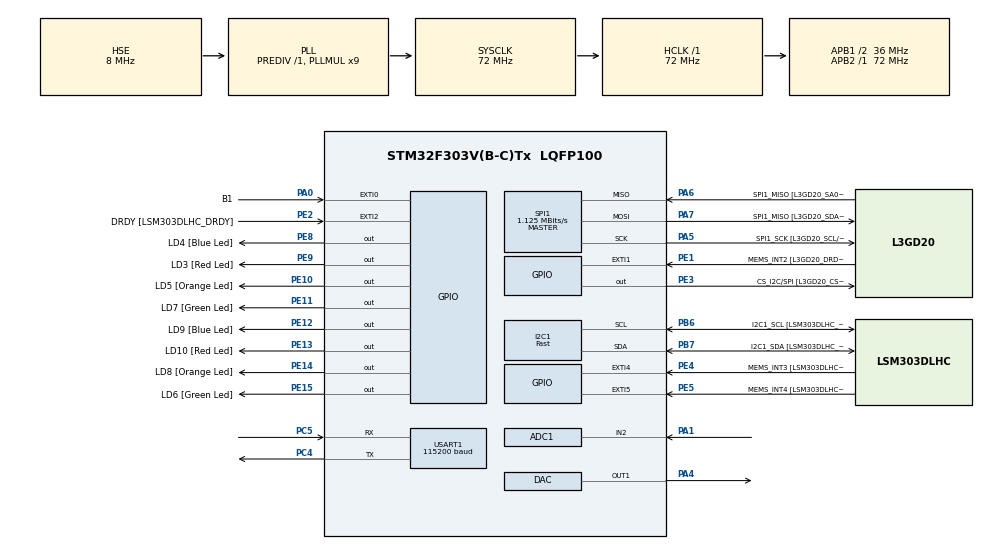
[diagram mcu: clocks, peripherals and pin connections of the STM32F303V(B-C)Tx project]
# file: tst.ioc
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ADC1.Channel-0\#ChannelRegularConversion=ADC_CHANNEL_2
ADC1.ClockPrescaler=ADC_CLOCK_ASYNC_DIV1
ADC1.ContinuousConvMode=DISABLE
ADC1.DMAContinuousRequests=DISABLE
ADC1.DataAlign=ADC_DATAALIGN_RIGHT
ADC1.DiscontinuousConvMode=DISABLE
ADC1.EOCSelection=ADC_EOC_SINGLE_CONV
ADC1.EnableAnalogWatchDog1=false
ADC1.EnableAnalogWatchDog2=false
ADC1.EnableAnalogWatchDog3=false
ADC1.EnableInjectedConversion=ENABLE
ADC1.EnableRegularConversion=ENABLE
ADC1.ExternalTrigConv=ADC_SOFTWARE_START
ADC1.ExternalTrigConvEdge=ADC_EXTERNALTRIGCONVEDGE_NONE
ADC1.InjNumberOfConversion=0
ADC1.LowPowerAutoWait=DISABLE
ADC1.NbrOfConversion=1
ADC1.NbrOfConversionFlag=1
ADC1.Offset-0\#ChannelRegularConversion=0
ADC1.OffsetNumber-0\#ChannelRegularConversion=ADC_OFFSET_NONE
ADC1.Overrun=ADC_OVR_DATA_OVERWRITTEN
ADC1.Rank-0\#ChannelRegularConversion=1
ADC1.Resolution=ADC_RESOLUTION_8B
ADC1.SamplingTime-0\#ChannelRegularConversion=ADC_SAMPLETIME_1CYCLE_5
ADC1.ScanConvMode=ADC_SCAN_DISABLE
ADC1.master=1
DAC.DAC_Trigger=DAC_TRIGGER_T6_TRGO
Dma.DAC_CH1.0.Direction=DMA_MEMORY_TO_PERIPH
Dma.DAC_CH1.0.Instance=DMA1_Channel3
Dma.DAC_CH1.0.MemDataAlignment=DMA_MDATAALIGN_HALFWORD
Dma.DAC_CH1.0.MemInc=DMA_MINC_ENABLE
Dma.DAC_CH1.0.Mode=DMA_CIRCULAR
Dma.DAC_CH1.0.PeriphDataAlignment=DMA_PDATAALIGN_HALFWORD
Dma.DAC_CH1.0.PeriphInc=DMA_PINC_DISABLE
Dma.DAC_CH1.0.Priority=DMA_PRIORITY_LOW
Dma.Request0=DAC_CH1
I2C1.I2C_Speed_Mode=I2C_Fast
I2C1.Timing=0x0000020B
Mcu.Family=STM32F3
Mcu.Name=STM32F303V(B-C)Tx
Mcu.Package=LQFP100
NVIC.ADC1_2_IRQn=true\:0\:1\:false\:false\:true
NVIC.DMA1_Channel3_IRQn=true\:0\:0\:false\:false\:true
NVIC.EXTI0_IRQn=true\:0\:2\:false\:false\:true
NVIC.FLASH_IRQn=true\:0\:0\:false\:false\:true
NVIC.PriorityGroup=NVIC_PRIORITYGROUP_0
NVIC.TIM6_DAC_IRQn=true\:0\:0\:true\:false\:true
NVIC.TIM7_IRQn=true\:0\:0\:true\:false\:true
NVIC.USART1_IRQn=true\:0\:0\:false\:false\:true
PA0.GPIO_Label=B1
PA0.Signal=GPXTI0
PA1.Mode=IN2-Single-Ended
PA1.Signal=ADC1_IN2
PA11.GPIO_Label=DM
PA11.Signal=USB_DM
PA12.GPIO_Label=DP
PA12.Signal=USB_DP
PA13.GPIO_Label=SWDIO
PA13.Mode=Trace_Asynchronous_SW
PA13.Signal=SYS_JTMS-SWDIO
PA14.GPIO_Label=SWCLK
PA14.Mode=Trace_Asynchronous_SW
PA14.Signal=SYS_JTCK-SWCLK
PA4.Signal=COMP_DAC1_group
PA5.GPIO_Label=SPI1_SCK [L3GD20_SCL/SPC]
PA5.GPIO_Mode=GPIO_MODE_AF_PP
PA5.GPIO_PuPd=GPIO_NOPULL
PA5.GPIO_Speed=GPIO_SPEED_FREQ_LOW
PA5.Mode=Full_Duplex_Master
PA5.Signal=SPI1_SCK
PA6.GPIO_Label=SPI1_MISO [L3GD20_SA0/SDO]
PA6.GPIO_Mode=GPIO_MODE_AF_PP
PA6.GPIO_PuPd=GPIO_NOPULL
PA6.GPIO_Speed=GPIO_SPEED_FREQ_LOW
PA6.Mode=Full_Duplex_Master
PA6.Signal=SPI1_MISO
PA7.GPIO_Label=SPI1_MISO [L3GD20_SDA/SDI/SDO]
PA7.GPIO_Mode=GPIO_MODE_AF_PP
PA7.GPIO_PuPd=GPIO_NOPULL
PA7.GPIO_Speed=GPIO_SPEED_FREQ_LOW
PA7.Mode=Full_Duplex_Master
PA7.Signal=SPI1_MOSI
PB3.GPIO_Label=SWO
PB3.Mode=Trace_Asynchronous_SW
PB3.Signal=SYS_JTDO-TRACESWO
PB6.GPIO_FM6=__NULL
PB6.GPIO_Label=I2C1_SCL [LSM303DLHC_SCL]
PB6.GPIO_Mode=GPIO_MODE_AF_OD
PB6.GPIO_PuPd=GPIO_NOPULL
PB6.GPIO_Speed=GPIO_SPEED_FREQ_LOW
PB6.Mode=I2C
PB6.Signal=I2C1_SCL
PB7.GPIO_FM7=__NULL
PB7.GPIO_Label=I2C1_SDA [LSM303DLHC_SDA]
PB7.GPIO_Mode=GPIO_MODE_AF_OD
PB7.GPIO_PuPd=GPIO_NOPULL
PB7.GPIO_Speed=GPIO_SPEED_FREQ_LOW
PB7.Mode=I2C
PB7.Signal=I2C1_SDA
PC14-OSC32_IN.GPIO_Label=OSC32_IN
PC14-OSC32_IN.Signal=RCC_OSC32_IN
PC15-OSC32_OUT.GPIO_Label=OSC32_OUT
PC15-OSC32_OUT.Signal=RCC_OSC32_OUT
PC4.Mode=Asynchronous
PC4.Signal=USART1_TX
PC5.Mode=Asynchronous
PC5.Signal=USART1_RX
PE1.GPIO_Label=MEMS_INT2 [L3GD20_DRDY/INT2]
PE1.GPIO_ModeDefaultEXTI=GPIO_MODE_EVT_RISING
PE1.GPIO_PuPd=GPIO_NOPULL
PE1.Signal=GPXTI1
PE10.GPIO_Label=LD5 [Orange Led]
PE10.GPIO_ModeDefaultOutputPP=GPIO_MODE_OUTPUT_PP
PE10.GPIO_PuPd=GPIO_NOPULL
PE10.GPIO_Speed=GPIO_SPEED_FREQ_LOW
PE10.Signal=GPIO_Output
PE11.GPIO_Label=LD7 [Green Led]
PE11.GPIO_ModeDefaultOutputPP=GPIO_MODE_OUTPUT_PP
PE11.GPIO_PuPd=GPIO_NOPULL
PE11.GPIO_Speed=GPIO_SPEED_FREQ_LOW
PE11.Signal=GPIO_Output
PE12.GPIO_Label=LD9 [Blue Led]
PE12.GPIO_ModeDefaultOutputPP=GPIO_MODE_OUTPUT_PP
PE12.GPIO_PuPd=GPIO_NOPULL
PE12.GPIO_Speed=GPIO_SPEED_FREQ_LOW
PE12.Signal=GPIO_Output
PE13.GPIO_Label=LD10 [Red Led]
PE13.GPIO_ModeDefaultOutputPP=GPIO_MODE_OUTPUT_PP
PE13.GPIO_PuPd=GPIO_NOPULL
PE13.GPIO_Speed=GPIO_SPEED_FREQ_LOW
PE13.Signal=GPIO_Output
PE14.GPIO_Label=LD8 [Orange Led]
PE14.GPIO_ModeDefaultOutputPP=GPIO_MODE_OUTPUT_PP
PE14.GPIO_PuPd=GPIO_NOPULL
PE14.GPIO_Speed=GPIO_SPEED_FREQ_LOW
PE14.Signal=GPIO_Output
PE15.GPIO_Label=LD6 [Green Led]
PE15.GPIO_ModeDefaultOutputPP=GPIO_MODE_OUTPUT_PP
PE15.GPIO_PuPd=GPIO_NOPULL
PE15.GPIO_Speed=GPIO_SPEED_FREQ_LOW
PE15.Signal=GPIO_Output
PE2.GPIO_Label=DRDY [LSM303DLHC_DRDY]
PE2.GPIO_ModeDefaultEXTI=GPIO_MODE_EVT_RISING
PE2.GPIO_PuPd=GPIO_NOPULL
PE2.Signal=GPXTI2
PE3.GPIO_Label=CS_I2C/SPI [L3GD20_CS_I2C/SPI]
PE3.GPIO_ModeDefaultOutputPP=GPIO_MODE_OUTPUT_PP
PE3.GPIO_PuPd=GPIO_NOPULL
PE3.GPIO_Speed=GPIO_SPEED_FREQ_LOW
PE3.Signal=GPIO_Output
PE4.GPIO_Label=MEMS_INT3 [LSM303DLHC_INT1]
PE4.GPIO_ModeDefaultEXTI=GPIO_MODE_EVT_RISING
PE4.GPIO_PuPd=GPIO_NOPULL
PE4.Signal=GPXTI4
PE5.GPIO_Label=MEMS_INT4 [LSM303DLHC_INT2]
PE5.GPIO_ModeDefaultEXTI=GPIO_MODE_EVT_RISING
PE5.GPIO_PuPd=GPIO_NOPULL
PE5.Signal=GPXTI5
PE8.GPIO_Label=LD4 [Blue Led]
PE8.GPIO_ModeDefaultOutputPP=GPIO_MODE_OUTPUT_PP
PE8.GPIO_PuPd=GPIO_NOPULL
PE8.GPIO_Speed=GPIO_SPEED_FREQ_LOW
PE8.Signal=GPIO_Output
PE9.GPIO_Label=LD3 [Red Led]
PE9.GPIO_ModeDefaultOutputPP=GPIO_MODE_OUTPUT_PP
PE9.GPIO_PuPd=GPIO_NOPULL
PE9.GPIO_Speed=GPIO_SPEED_FREQ_LOW
PE9.Signal=GPIO_Output
PF0-OSC_IN.GPIO_Label=OSC_IN
PF0-OSC_IN.Mode=HSE-External-Clock-Source
PF0-OSC_IN.Signal=RCC_OSC_IN
PF1-OSC_OUT.GPIO_Label=OSC_OUT
PF1-OSC_OUT.Signal=RCC_OSC_OUT
ProjectManager.HeapSize=0x200
ProjectManager.StackSize=0x400
ProjectManager.TargetToolchain=SW4STM32
RCC.AHBFreq_Value=72000000
RCC.APB1CLKDivider=RCC_HCLK_DIV2
RCC.APB1Freq_Value=36000000
RCC.APB1TimFreq_Value=72000000
RCC.APB2Freq_Value=72000000
RCC.APB2TimFreq_Value=72000000
RCC.CortexFreq_Value=72000000
RCC.HCLKFreq_Value=72000000
RCC.HSE_VALUE=8000000
RCC.HSI_VALUE=8000000
RCC.LSE_VALUE=32768
RCC.PLLMUL=RCC_PLL_MUL9
RCC.PLLSourceVirtual=RCC_PLLSOURCE_HSE
RCC.SYSCLKFreq_VALUE=72000000
RCC.SYSCLKSourceVirtual=RCC_SYSCLKSOURCE_PLLCLK
RCC.USBFreq_Value=72000000
SH.COMP_DAC1_group.0=DAC_OUT1,DAC_OUT1
SPI1.BaudRatePrescaler=SPI_BAUDRATEPRESCALER_64
SPI1.CalculateBaudRate=1.125 MBits/s
SPI1.Direction=SPI_DIRECTION_2LINES
SPI1.Mode=SPI_MODE_MASTER
SPI1.VirtualType=VM_MASTER
TIM6.AutoReloadPreload=TIM_AUTORELOAD_PRELOAD_ENABLE
TIM6.Period=10000
TIM6.Prescaler=71
TIM6.TIM_MasterOutputTrigger=TIM_TRGO_UPDATE
TIM7.AutoReloadPreload=TIM_AUTORELOAD_PRELOAD_ENABLE
TIM7.Period=1000
TIM7.Prescaler=71
TIM7.TIM_MasterOutputTrigger=TIM_TRGO_UPDATE
USART1.BaudRate=115200
USART1.VirtualMode-Asynchronous=VM_ASYNC
VP_TIM6_VS_ClockSourceINT.Mode=Enable_Timer
VP_TIM7_VS_ClockSourceINT.Mode=Enable_Timer
board=STM32F3DISCOVERY

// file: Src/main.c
 /**
  ******************************************************************************
  * File Name          : main.c
  * Description        : Main program body
  ******************************************************************************
  *
  * COPYRIGHT(c) 2017 STMicroelectronics
  *
  * Redistribution and use in source and binary forms, with or without modification,
  * are permitted provided that the following conditions are met:
  *   1. Redistributions of source code must retain the above copyright notice,
  *      this list of conditions and the following disclaimer.
  *   2. Redistributions in binary form must reproduce the above copyright notice,
  *      this list of conditions and the following disclaimer in the documentation
  *      and/or other materials provided with the distribution.
  *   3. Neither the name of STMicroelectronics nor the names of its contributors
  *      may be used to endorse or promote products derived from this software
  *      without specific prior written permission.
  *
  * THIS SOFTWARE IS PROVIDED BY THE COPYRIGHT HOLDERS AND CONTRIBUTORS "AS IS"
  * AND ANY EXPRESS OR IMPLIED WARRANTIES, INCLUDING, BUT NOT LIMITED TO, THE
  * IMPLIED WARRANTIES OF MERCHANTABILITY AND FITNESS FOR A PARTICULAR PURPOSE ARE
  * DISCLAIMED. IN NO EVENT SHALL THE COPYRIGHT HOLDER OR CONTRIBUTORS BE LIABLE
  * FOR ANY DIRECT, INDIRECT, INCIDENTAL, SPECIAL, EXEMPLARY, OR CONSEQUENTIAL
  * DAMAGES (INCLUDING, BUT NOT LIMITED TO, PROCUREMENT OF SUBSTITUTE GOODS OR
  * SERVICES; LOSS OF USE, DATA, OR PROFITS; OR BUSINESS INTERRUPTION) HOWEVER
  * CAUSED AND ON ANY THEORY OF LIABILITY, WHETHER IN CONTRACT, STRICT LIABILITY,
  * OR TORT (INCLUDING NEGLIGENCE OR OTHERWISE) ARISING IN ANY WAY OUT OF THE USE
  * OF THIS SOFTWARE, EVEN IF ADVISED OF THE POSSIBILITY OF SUCH DAMAGE.
  *
  ******************************************************************************
  */
#include <MEMS.h>
#include "main.h"
#include "stm32f3xx_hal.h"

/* USER CODE BEGIN Includes */
#include "string.h"
#include "data.h"
#include "arm_math.h"
/* USER CODE END Includes */

ADC_HandleTypeDef hadc1;

DAC_HandleTypeDef hdac;
DMA_HandleTypeDef hdma_dac_ch1;

I2C_HandleTypeDef hi2c1;

SPI_HandleTypeDef hspi1;

TIM_HandleTypeDef htim6;
TIM_HandleTypeDef htim7;

UART_HandleTypeDef huart1;

/* USER CODE BEGIN PV */
/* Private variables ---------------------------------------------------------*/
#define FLASH_BASE_ADDR 0x8030000
#define STEP_IDLE 		(0x01)
#define STEP_FALLING 	(0x01<<1)
#define STEP_RISING 	(0x01<<2)
#define STEP_FIRST 		(0x01<<7)

#define STEP_THRESH		0.05
#define STEP_THRESH_DYN	0.5
#define STEP_FILTER_LEN 50
#define STEP_PREIOD_LEN 5
#define STEP_WINDOW_LEN 50

//#define HR_IDLE (0x01)
//#define HR_RISING (0x01<<1)
//#define HR_FALLING (0x01<<2)
//#define HR_BLOCK (0x01<<3)
//#define HR_ESTAB (0x01<<7)

#define HR_IDLE 		(0x01)
#define HR_RISING 		(0x01<<1)
#define HR_FALLING 		(0x01<<2)
#define HR_FIRST 		(0x01<<7)

#define HR_THRESH		5
#define HR_THRESH_DYN	0.4
#define HR_FILTER_LEN 	50
#define HR_PREIOD_LEN 	5
#define HR_WINDOW_LEN 	50

uint32_t msTimCnt = 0;
uint8_t rawHR = 0;
uint8_t threshHR = HR_THRESH;
uint8_t filtHR_val = 0;
uint8_t rawStep_rms = 0;
uint8_t threshStep = STEP_THRESH;
uint8_t filtStep_rms = 0;
float32_t f32Step_rms = 0;
uint8_t rawStep_x = 0;
uint8_t rawStep_y = 0;
uint8_t rawStep_z = 0;
uint8_t rawFlash = 0;
uint8_t rawUpdated = 0;

uint8_t outHR = 0;
uint8_t outSR = 0;
uint8_t outHC = 0;
uint8_t outSC = 0;
uint8_t txbuf[20];
/* USER CODE END PV */

void SystemClock_Config(void);
void Error_Handler(void);
static void MX_GPIO_Init(void);
static void MX_DMA_Init(void);
static void MX_TIM6_Init(void);
static void MX_DAC_Init(void);
static void MX_USART1_UART_Init(void);
static void MX_ADC1_Init(void);
static void MX_TIM7_Init(void);
static void MX_I2C1_Init(void);
static void MX_SPI1_Init(void);

/* USER CODE BEGIN PFP */
/* Private function prototypes -----------------------------------------------*/

/* USER CODE END PFP */

/* USER CODE BEGIN 0 */
HAL_StatusTypeDef logData2Flash(uint64_t _data) {
	HAL_StatusTypeDef status = HAL_OK;
	static uint32_t _offset=0;

	if (_offset<6000) {
		status = HAL_FLASH_Program(FLASH_TYPEPROGRAM_HALFWORD, FLASH_BASE_ADDR+_offset, _data);
		_offset += 2;
	}
	else {
		HAL_FLASH_Lock();
		HAL_GPIO_WritePin(LD9_GPIO_Port, LD9_Pin, 0);
	}
	return status;
}

/*
 * Interrupt Callback
 */

/* UART Callback */
void HAL_UART_TxCpltCallback (UART_HandleTypeDef * huart) {
	UNUSED(huart);
}

/* ADC Convert Cplt Callback */
void HAL_ADC_ConvCpltCallback(ADC_HandleTypeDef *hadc) {
//	int16_t x,y,z;
	int16_t acc[3];
	float32_t facc[3];
	float32_t f_acc_rms;
	static uint16_t offset = 0;

	/* get heart pulse data */
	HAL_ADC_Stop_IT(hadc);
	rawHR = (uint8_t) HAL_ADC_GetValue(hadc);

	/* get accelero data */
//	z = ACCELERO_MEMS_GetData(ACC_Z);
	BSP_ACCELERO_GetXYZ(acc);
	// calc rms
	facc[0] = (float32_t)acc[0];
	facc[1] = (float32_t)acc[1];
	facc[2] = (float32_t)acc[2];
	arm_rms_f32(facc, 3, &f_acc_rms);
	f32Step_rms = f_acc_rms*1.73205080756888;
	rawStep_rms = (((uint16_t)f_acc_rms+4096)>>5) & 0xff;
	// calc x y z
	rawStep_x = ((acc[0]+4096)>>5) & 0xff;
	rawStep_y = ((acc[1]+4096)>>5) & 0xff;
	rawStep_z = ((acc[2]+4096)>>5) & 0xff;

	/* get logged data in flash */
	rawFlash = *((uint16_t *)(FLASH_BASE_ADDR+offset));
	offset = (offset+2)%6000;

	rawUpdated = 1;
}

/* USER Button Callback */
void HAL_GPIO_EXTI_Callback(uint16_t GPIO_Pin) {
	if (GPIO_Pin == B1_Pin) {
		UNUSED(GPIO_Pin);
	}
}

/* ADC TimeBase 6,7 Callback */
void HAL_TIM_PeriodElapsedCallback(TIM_HandleTypeDef * htim) {
	static uint8_t cnt;
	static uint8_t index = 0;
	if (htim->Instance == TIM7) {
		msTimCnt++;
	} else if (htim->Instance == TIM6) {
		if (cnt==0) {
			HAL_ADC_Start_IT(&hadc1);

			txbuf[0] = index+11;
			txbuf[1] = (rawHR=='\n')? rawHR+1: rawHR;
			txbuf[2] = (threshHR=='\n')? threshHR+1 : threshHR;
			txbuf[3] = (filtHR_val=='\n')? filtHR_val+1: filtHR_val;
			txbuf[4] = (rawStep_x=='\n')? rawStep_x+1: rawStep_x;
			txbuf[5] = (rawStep_y=='\n')? rawStep_y+1: rawStep_y;
			txbuf[6] = (rawStep_z=='\n')? rawStep_z+1: rawStep_z;
			txbuf[7] = (threshStep=='\n')? threshStep + 1 : threshStep;
			txbuf[8] = (filtStep_rms=='\n')? filtStep_rms + 1 : filtStep_rms;
			txbuf[9] = outHR+11;
			txbuf[10] = outSR+11;
			txbuf[11] = outHC+11;
			txbuf[12] = outSC+11;
			txbuf[13] = '\n';
			HAL_UART_Transmit_IT(&huart1, (uint8_t*) &txbuf, 14);
			index = (index+1)%100;

			if (HAL_GPIO_ReadPin(LD9_GPIO_Port, LD9_Pin)==1)
				logData2Flash(rawStep_rms);
			else
				HAL_FLASH_Lock();
		}
		cnt = (cnt+1)%2;
	}
}

void u8minmax(uint8_t list[], uint8_t size, uint8_t len, uint8_t start_idx, uint8_t * min, uint8_t * max) {
	uint8_t i, j;

	*max = 0;
	*min = 255;
	for (i=0; i<len; i++) {
		j = start_idx>=i? start_idx-i: size-(i-start_idx);
		if (*max < list[j])
			*max = list[j];
		if (*min > list[j])
			*min = list[j];
	}
}
/* USER CODE END 0 */

int main(void)
{

  /* USER CODE BEGIN 1 */
	FLASH_EraseInitTypeDef eri;
	uint32_t err;
	uint8_t i;
	uint8_t j;
	uint8_t k;

	// step part
	float32_t rawStep_queue[STEP_FILTER_LEN*2];
	uint8_t rawStep_queueIdx = STEP_FILTER_LEN*2;
	float32_t rawStep_gval = 0;
	float32_t currStep_rms = 0;
	float32_t prevStep_rms = 0;
	float32_t flitStep_queue[STEP_WINDOW_LEN];
	uint8_t flitStep_queueIdx = STEP_WINDOW_LEN;
	uint8_t step_state = 0;
	float32_t step_peak = 0;
	float32_t step_valley = 0;
	float32_t step_baseline = 0;
	float32_t step_threshold = STEP_THRESH;
	uint32_t step_mstick = 0;
	uint8_t step_periodidx = 0;
	float32_t step_period[STEP_PREIOD_LEN];
	float32_t step_mean = 0;
	float32_t step_std = 0;
	uint32_t step_timeout = 0;

//	// heart part
//	uint8_t rawHR_queue[HR_FILTER_LEN*2] = {0};
//	uint8_t rawHR_queueIdx = HR_FILTER_LEN*2;
//	uint8_t currHR_val = 0;
//	uint8_t prevHR_val = 255;
//	uint8_t hr_state = 0;
//	uint8_t hr_peak = 0;
//	uint8_t hr_baseline = 0;
//	uint8_t hr_threshold = 0;
//	uint8_t hr_periodcnt = 0;
//	float32_t hr_period[3] = {1000};
//	uint32_t hr_mstick = 0;
//	float32_t hr_std = 0;
//	float32_t hr_mean = 0;
//	uint8_t hr_datacnt = 0;

	float32_t rawHR_queue[HR_FILTER_LEN*2];
	uint8_t rawHR_queueIdx = HR_FILTER_LEN*2;
	float32_t rawHR_offset = 0;
	float32_t currHR_val = 0;
	float32_t prevHR_val = 0;
	uint8_t hr_state = 0;
	uint8_t hr_cross0 = 0;
	float32_t hr_peak = 0;
	float32_t hr_valley = 0;
	float32_t hr_baseline = 0;
	float32_t hr_baselineoffset = 0;
	float32_t hr_threshold = HR_THRESH;
	uint32_t hr_mstick = 0;
	uint8_t hr_periodidx = 0;
	float32_t hr_period[HR_PREIOD_LEN];
	float32_t hr_mean = 0;
	uint32_t hr_timeout = 0;

  /* USER CODE END 1 */

  /* MCU Configuration----------------------------------------------------------*/

  /* Reset of all peripherals, Initializes the Flash interface and the Systick. */
  HAL_Init();

  /* Configure the system clock */
  SystemClock_Config();

  /* Initialize all configured peripherals */
  MX_GPIO_Init();
  MX_DMA_Init();
  MX_TIM6_Init();
  MX_DAC_Init();
  MX_USART1_UART_Init();
  MX_ADC1_Init();
  MX_TIM7_Init();
  MX_I2C1_Init();
  MX_SPI1_Init();

  /* USER CODE BEGIN 2 */
	HAL_GPIO_WritePin(LD6_GPIO_Port, LD6_Pin, 1);

  /*
   * check if entering data collecting mode
   * hold User button to enter
   */
  if (HAL_GPIO_ReadPin(B1_GPIO_Port, B1_Pin) == 1) {
	HAL_GPIO_WritePin(LD10_GPIO_Port, LD10_Pin, 1);
	HAL_GPIO_WritePin(LD9_GPIO_Port, LD9_Pin, 1);
	HAL_GPIO_WritePin(LD9_GPIO_Port, LD9_Pin, 1);

	/* erase flash */
	HAL_FLASH_Unlock();
	eri.NbPages = 4;
	eri.PageAddress=FLASH_BASE_ADDR;
	eri.TypeErase=FLASH_TYPEERASE_PAGES;
	HAL_FLASHEx_Erase(&eri, &err);

	for (i=0; i<30; i++) {
		HAL_GPIO_TogglePin(LD10_GPIO_Port, LD10_Pin);
		HAL_Delay(100);
	}

	HAL_GPIO_WritePin(LD10_GPIO_Port, LD10_Pin, 0);
	HAL_GPIO_WritePin(LD9_GPIO_Port, LD9_Pin, 1);
  }

	/* Init ACCELERO MEMS */
//  	BSP_ACCELERO_Reset();
	ACCELERO_MEMS_Init();

	/* Using DAC CH1 to simulate the heart pulse wave at PA4 */
	/* DO NOT MODIFY */
	HAL_TIM_Base_Start_IT(&htim6);
	HAL_TIM_Base_Start_IT(&htim7);

	HAL_DAC_Start(&hdac, DAC_CHANNEL_1);
	HAL_DAC_Start_DMA(&hdac, DAC_CHANNEL_1, (uint32_t*) hr_data, 965,
			DAC_ALIGN_8B_R);
//	HAL_DAC_Start_DMA(&hdac, DAC_CHANNEL_1, (uint32_t*) FLASH_BASE_ADDR, 3000,
//				DAC_ALIGN_8B_R);

	// acc init
	rawStep_gval = 0;
	for (rawStep_queueIdx=STEP_FILTER_LEN*2-1; rawStep_queueIdx>STEP_FILTER_LEN-1; rawStep_queueIdx--) {
		while (!rawUpdated);
		rawStep_queue[rawStep_queueIdx] = f32Step_rms;
		rawUpdated = 0;
	}
	// Get the mean value of first 100 data. This value equals to 1g.
	arm_mean_f32(rawStep_queue+STEP_FILTER_LEN, STEP_FILTER_LEN, &rawStep_gval);
	// Zero-centering the all raw values. (val / 1g - 1)
	arm_scale_f32(rawStep_queue+STEP_FILTER_LEN, 1/rawStep_gval, rawStep_queue+STEP_FILTER_LEN, STEP_FILTER_LEN);
	arm_offset_f32(rawStep_queue+STEP_FILTER_LEN, -1, rawStep_queue+STEP_FILTER_LEN, STEP_FILTER_LEN);
	// Init period
	for (i=0; i<STEP_PREIOD_LEN; i++)
		step_period[i] = 2000;

	// HR offset
	rawHR_offset = 0;
	for (rawHR_queueIdx=HR_FILTER_LEN*2-1; rawHR_queueIdx>HR_FILTER_LEN-1; rawHR_queueIdx--) {
		while (!rawUpdated);
		rawHR_queue[rawHR_queueIdx] = (float32_t) rawHR;
		rawUpdated = 0;
	}
	// Get the mean value of first 100 data.
	arm_mean_f32(rawHR_queue+HR_FILTER_LEN, HR_FILTER_LEN, &rawHR_offset);
	arm_std_f32(rawHR_queue+HR_FILTER_LEN, HR_FILTER_LEN, &hr_threshold);
	hr_baseline = rawHR_offset;
	for (i=0; i<HR_PREIOD_LEN; i++)
			hr_period[i] = 2000;

//	// Zero-centering the all raw values. (val - rawHR_offset)
//	arm_offset_f32(rawHR_queue+HR_FILTER_LEN, -rawHR_offset, rawHR_queue+HR_FILTER_LEN, HR_FILTER_LEN);

	step_state = STEP_IDLE;
	hr_state = HR_IDLE;

	HAL_GPIO_WritePin(LD6_GPIO_Port, LD6_Pin, 0);

  /* USER CODE END 2 */

  /* Infinite loop */
	while (1) {

  /* USER CODE BEGIN 3 */
		// wait for raw data being updated
		HAL_GPIO_WritePin(LD3_GPIO_Port, LD3_Pin, 0);
//		HAL_GPIO_WritePin(LD4_GPIO_Port, LD4_Pin, 1);
		while (!rawUpdated);
		HAL_GPIO_WritePin(LD3_GPIO_Port, LD3_Pin, 1);
//		HAL_GPIO_WritePin(LD4_GPIO_Port, LD4_Pin, 0);

		/*
		 * FIR filter
		 */
		// put raw data into queue
		rawStep_queue[rawStep_queueIdx] = f32Step_rms/rawStep_gval-1.;
		// get filtered current step value
		arm_dot_prod_f32((float*) (rawStep_queue+rawStep_queueIdx), (float*) step_filter,
									STEP_FILTER_LEN+1, &currStep_rms);
		// add current filtered rms to filtered queue
		flitStep_queue[flitStep_queueIdx] = currStep_rms;
		flitStep_queueIdx = (flitStep_queueIdx+1)%STEP_WINDOW_LEN;
		// uart
		filtStep_rms = ((( (uint16_t) ( (currStep_rms+1)*rawStep_gval) )+4096)>>5) & 0xff;
		// store raw step data history
		rawStep_queue[rawStep_queueIdx+STEP_FILTER_LEN] = rawStep_queue[rawStep_queueIdx];
		// rawStep_queueIdx--
		rawStep_queueIdx = (rawStep_queueIdx + STEP_FILTER_LEN-1)%STEP_FILTER_LEN;

		if (!(step_state & STEP_IDLE)) {
			arm_std_f32(flitStep_queue, STEP_WINDOW_LEN, &step_threshold);
			step_threshold *= STEP_THRESH_DYN;
			if (step_threshold < 0.03)
				step_threshold = 0.03;
		}

		/*
		 * Steps detecting algorithm
		 */
		if (step_state & STEP_IDLE) {
			threshStep = ((( (uint16_t) ( (step_baseline + step_threshold+1)*rawStep_gval) )+4096)>>5) & 0xff;
			if (currStep_rms > step_baseline + step_threshold) {
				step_state = STEP_FIRST | STEP_FALLING;
				step_peak = currStep_rms;
				step_timeout = msTimCnt;
			}
		}
		else if (step_state & STEP_FALLING) {
			threshStep = ((( (uint16_t) ( (step_baseline - step_threshold+1.)*rawStep_gval) )+4096)>>5) & 0xff;
			if (currStep_rms > step_peak) {
				step_peak = currStep_rms;
			}
			else if (currStep_rms < step_baseline - step_threshold) {
				arm_std_f32(step_period, STEP_PREIOD_LEN, &step_std);
				if (!(step_state & STEP_FIRST)) {
					step_period[step_periodidx] = (float32_t) (msTimCnt - step_mstick);
					step_periodidx = (step_periodidx+1)%STEP_PREIOD_LEN;
					arm_mean_f32(step_period, STEP_PREIOD_LEN, &step_mean);
					outSR = (uint8_t) (60000./step_mean);
					outSC = (outSC+1)%100;
				}
				step_state = STEP_RISING;
				step_valley = currStep_rms;
				step_mstick = msTimCnt;
				step_timeout = msTimCnt;
			}
			else if (!(step_state & STEP_FIRST)) {
				step_baseline = (step_peak + step_valley)/2;
			}
		}
		else if (step_state & STEP_RISING) {
			threshStep = ((( (uint16_t) ( (step_baseline + step_threshold+1.)*rawStep_gval) )+4096)>>5) & 0xff;
			if (currStep_rms < step_valley) {
				step_valley = currStep_rms;
			}
			else if (currStep_rms > step_baseline + step_threshold) {
				step_state = STEP_FALLING;
				step_peak = currStep_rms;
				step_timeout = msTimCnt;
			}
			else {
				step_baseline = (step_peak + step_valley)/2;
			}
		}

		if ( ((step_state & STEP_RISING) && (msTimCnt - step_timeout>3000))
				|| ((step_state & STEP_FALLING) && (msTimCnt - step_timeout>3000)) ) {
			step_state = STEP_IDLE;
			step_baseline = 0;
			step_threshold = STEP_THRESH;
			for (i=0; i<STEP_PREIOD_LEN; i++)
				step_period[i] = 2000;
			outSR = 0;
		}

		prevStep_rms = currStep_rms;

		/*
		 * FIR filter
		 */
		// put raw data into queue
		rawHR_queue[rawHR_queueIdx] = ((float32_t)rawHR);
		// get filtered current hr value
		arm_dot_prod_f32((float*) (rawHR_queue+rawHR_queueIdx), (float*) hr_filter,
									HR_FILTER_LEN+1, &currHR_val);
		filtHR_val = currHR_val>=255? 255: (uint8_t) currHR_val;
		// store raw hr data history
		rawHR_queue[rawHR_queueIdx+HR_FILTER_LEN] = rawHR_queue[rawHR_queueIdx];
		// rawHR_queueIdx--
		rawHR_queueIdx = (rawHR_queueIdx + HR_FILTER_LEN-1)%HR_FILTER_LEN;

		arm_mean_f32(rawHR_queue+rawHR_queueIdx, HR_FILTER_LEN/2, &rawHR_offset);
		arm_std_f32(rawHR_queue+rawHR_queueIdx, HR_FILTER_LEN/2, &hr_threshold);
		hr_threshold *= HR_THRESH_DYN;
		if (hr_threshold < HR_THRESH) {
			hr_threshold = HR_THRESH;
		}

		if (hr_state & HR_IDLE) {
			threshHR = (uint8_t) (hr_baseline + hr_threshold);
			if (currHR_val > hr_baseline + hr_threshold) {
				hr_state = HR_FIRST | HR_FALLING;
				hr_peak = currHR_val;
				hr_timeout = msTimCnt;
			}
		}
		else if (hr_state & HR_FALLING) {
			threshHR = (uint8_t) (hr_baseline - hr_threshold);
			if (currHR_val > hr_peak) {
				hr_peak = currHR_val;
			}
			else if (currHR_val < hr_baseline - hr_threshold) {
				if (!(hr_state & HR_FIRST)) {
					hr_period[hr_periodidx] = (float32_t) (msTimCnt - hr_mstick);
					hr_periodidx = (hr_periodidx+1)%HR_PREIOD_LEN;
					arm_mean_f32(hr_period, HR_PREIOD_LEN, &hr_mean);
					outHR = (uint8_t) (60000./hr_mean);
					outHC = (outHC+1)%100;
				}
				hr_state = HR_RISING;
				hr_valley = currHR_val;
				hr_mstick = msTimCnt;
				hr_timeout = msTimCnt;
			}
			else if (!(hr_state & HR_FIRST)) {
				hr_baseline = (hr_peak - hr_valley)*3/5 + hr_valley;
			}
		}
		else if (hr_state & HR_RISING) {
			threshHR = (uint8_t) (hr_baseline + hr_threshold);
			if (currHR_val < hr_valley) {
				hr_valley = currHR_val;
			}
			else if (currHR_val > hr_baseline + hr_threshold) {
				hr_state = HR_FALLING;
				hr_peak = currHR_val;
				hr_timeout = msTimCnt;
			}
			else {
				hr_baseline = (hr_peak - hr_valley)*3/5 + hr_valley;
			}
		}

		// check timeout
		if ( ((hr_state & HR_RISING) && (msTimCnt - hr_timeout>2000))
			|| ((hr_state & HR_FALLING) && (msTimCnt - hr_timeout>1000)) ) {
			hr_state = HR_IDLE;
			hr_baseline = rawHR_offset;
			for (i=0; i<HR_PREIOD_LEN; i++)
				hr_period[i] = 2000;
			outHR = 0;
		}

		prevHR_val = currHR_val;

		rawUpdated = 0;
	}

  /* USER CODE END 3 */

}

/** System Clock Configuration
*/
void SystemClock_Config(void)
{

  RCC_OscInitTypeDef RCC_OscInitStruct;
  RCC_ClkInitTypeDef RCC_ClkInitStruct;
  RCC_PeriphCLKInitTypeDef PeriphClkInit;

    /**Initializes the CPU, AHB and APB busses clocks
    */
  RCC_OscInitStruct.OscillatorType = RCC_OSCILLATORTYPE_HSI|RCC_OSCILLATORTYPE_HSE;
  RCC_OscInitStruct.HSEState = RCC_HSE_BYPASS;
  RCC_OscInitStruct.HSEPredivValue = RCC_HSE_PREDIV_DIV1;
  RCC_OscInitStruct.HSIState = RCC_HSI_ON;
  RCC_OscInitStruct.HSICalibrationValue = 16;
  RCC_OscInitStruct.PLL.PLLState = RCC_PLL_ON;
  RCC_OscInitStruct.PLL.PLLSource = RCC_PLLSOURCE_HSE;
  RCC_OscInitStruct.PLL.PLLMUL = RCC_PLL_MUL9;
  if (HAL_RCC_OscConfig(&RCC_OscInitStruct) != HAL_OK)
  {
    Error_Handler();
  }

    /**Initializes the CPU, AHB and APB busses clocks
    */
  RCC_ClkInitStruct.ClockType = RCC_CLOCKTYPE_HCLK|RCC_CLOCKTYPE_SYSCLK
                              |RCC_CLOCKTYPE_PCLK1|RCC_CLOCKTYPE_PCLK2;
  RCC_ClkInitStruct.SYSCLKSource = RCC_SYSCLKSOURCE_PLLCLK;
  RCC_ClkInitStruct.AHBCLKDivider = RCC_SYSCLK_DIV1;
  RCC_ClkInitStruct.APB1CLKDivider = RCC_HCLK_DIV2;
  RCC_ClkInitStruct.APB2CLKDivider = RCC_HCLK_DIV1;

  if (HAL_RCC_ClockConfig(&RCC_ClkInitStruct, FLASH_LATENCY_2) != HAL_OK)
  {
    Error_Handler();
  }

  PeriphClkInit.PeriphClockSelection = RCC_PERIPHCLK_USART1|RCC_PERIPHCLK_I2C1
                              |RCC_PERIPHCLK_ADC12;
  PeriphClkInit.Usart1ClockSelection = RCC_USART1CLKSOURCE_PCLK2;
  PeriphClkInit.Adc12ClockSelection = RCC_ADC12PLLCLK_DIV1;
  PeriphClkInit.I2c1ClockSelection = RCC_I2C1CLKSOURCE_HSI;
  if (HAL_RCCEx_PeriphCLKConfig(&PeriphClkInit) != HAL_OK)
  {
    Error_Handler();
  }

    /**Configure the Systick interrupt time
    */
  HAL_SYSTICK_Config(HAL_RCC_GetHCLKFreq()/1000);

    /**Configure the Systick
    */
  HAL_SYSTICK_CLKSourceConfig(SYSTICK_CLKSOURCE_HCLK);

  /* SysTick_IRQn interrupt configuration */
  HAL_NVIC_SetPriority(SysTick_IRQn, 0, 0);
}

/* ADC1 init function */
static void MX_ADC1_Init(void)
{

  ADC_MultiModeTypeDef multimode;
  ADC_ChannelConfTypeDef sConfig;

    /**Common config
    */
  hadc1.Instance = ADC1;
  hadc1.Init.ClockPrescaler = ADC_CLOCK_ASYNC_DIV1;
  hadc1.Init.Resolution = ADC_RESOLUTION_8B;
  hadc1.Init.ScanConvMode = ADC_SCAN_DISABLE;
  hadc1.Init.ContinuousConvMode = DISABLE;
  hadc1.Init.DiscontinuousConvMode = DISABLE;
  hadc1.Init.ExternalTrigConvEdge = ADC_EXTERNALTRIGCONVEDGE_NONE;
  hadc1.Init.ExternalTrigConv = ADC_SOFTWARE_START;
  hadc1.Init.DataAlign = ADC_DATAALIGN_RIGHT;
  hadc1.Init.NbrOfConversion = 1;
  hadc1.Init.DMAContinuousRequests = DISABLE;
  hadc1.Init.EOCSelection = ADC_EOC_SINGLE_CONV;
  hadc1.Init.LowPowerAutoWait = DISABLE;
  hadc1.Init.Overrun = ADC_OVR_DATA_OVERWRITTEN;
  if (HAL_ADC_Init(&hadc1) != HAL_OK)
  {
    Error_Handler();
  }

    /**Configure the ADC multi-mode
    */
  multimode.DMAAccessMode = ADC_DMAACCESSMODE_DISABLED;
  multimode.TwoSamplingDelay = ADC_TWOSAMPLINGDELAY_1CYCLE;
  if (HAL_ADCEx_MultiModeConfigChannel(&hadc1, &multimode) != HAL_OK)
  {
    Error_Handler();
  }

    /**Configure Regular Channel
    */
  sConfig.Channel = ADC_CHANNEL_2;
  sConfig.Rank = 1;
  sConfig.SingleDiff = ADC_SINGLE_ENDED;
  sConfig.SamplingTime = ADC_SAMPLETIME_1CYCLE_5;
  sConfig.OffsetNumber = ADC_OFFSET_NONE;
  sConfig.Offset = 0;
  if (HAL_ADC_ConfigChannel(&hadc1, &sConfig) != HAL_OK)
  {
    Error_Handler();
  }

}

/* DAC init function */
static void MX_DAC_Init(void)
{

  DAC_ChannelConfTypeDef sConfig;

    /**DAC Initialization
    */
  hdac.Instance = DAC;
  if (HAL_DAC_Init(&hdac) != HAL_OK)
  {
    Error_Handler();
  }

    /**DAC channel OUT1 config
    */
  sConfig.DAC_Trigger = DAC_TRIGGER_T6_TRGO;
  sConfig.DAC_OutputBuffer = DAC_OUTPUTBUFFER_ENABLE;
  if (HAL_DAC_ConfigChannel(&hdac, &sConfig, DAC_CHANNEL_1) != HAL_OK)
  {
    Error_Handler();
  }

}

/* I2C1 init function */
static void MX_I2C1_Init(void)
{

  hi2c1.Instance = I2C1;
  hi2c1.Init.Timing = 0x0000020B;
  hi2c1.Init.OwnAddress1 = 0;
  hi2c1.Init.AddressingMode = I2C_ADDRESSINGMODE_7BIT;
  hi2c1.Init.DualAddressMode = I2C_DUALADDRESS_DISABLE;
  hi2c1.Init.OwnAddress2 = 0;
  hi2c1.Init.OwnAddress2Masks = I2C_OA2_NOMASK;
  hi2c1.Init.GeneralCallMode = I2C_GENERALCALL_DISABLE;
  hi2c1.Init.NoStretchMode = I2C_NOSTRETCH_DISABLE;
  if (HAL_I2C_Init(&hi2c1) != HAL_OK)
  {
    Error_Handler();
  }

    /**Configure Analogue filter
    */
  if (HAL_I2CEx_ConfigAnalogFilter(&hi2c1, I2C_ANALOGFILTER_ENABLE) != HAL_OK)
  {
    Error_Handler();
  }

}

/* SPI1 init function */
static void MX_SPI1_Init(void)
{

  hspi1.Instance = SPI1;
  hspi1.Init.Mode = SPI_MODE_MASTER;
  hspi1.Init.Direction = SPI_DIRECTION_2LINES;
  hspi1.Init.DataSize = SPI_DATASIZE_4BIT;
  hspi1.Init.CLKPolarity = SPI_POLARITY_LOW;
  hspi1.Init.CLKPhase = SPI_PHASE_1EDGE;
  hspi1.Init.NSS = SPI_NSS_SOFT;
  hspi1.Init.BaudRatePrescaler = SPI_BAUDRATEPRESCALER_64;
  hspi1.Init.FirstBit = SPI_FIRSTBIT_MSB;
  hspi1.Init.TIMode = SPI_TIMODE_DISABLE;
  hspi1.Init.CRCCalculation = SPI_CRCCALCULATION_DISABLE;
  hspi1.Init.CRCPolynomial = 7;
  hspi1.Init.CRCLength = SPI_CRC_LENGTH_DATASIZE;
  hspi1.Init.NSSPMode = SPI_NSS_PULSE_ENABLE;
  if (HAL_SPI_Init(&hspi1) != HAL_OK)
  {
    Error_Handler();
  }

}

/* TIM6 init function */
static void MX_TIM6_Init(void)
{

  TIM_MasterConfigTypeDef sMasterConfig;

  htim6.Instance = TIM6;
  htim6.Init.Prescaler = 71;
  htim6.Init.CounterMode = TIM_COUNTERMODE_UP;
  htim6.Init.Period = 10000;
  htim6.Init.AutoReloadPreload = TIM_AUTORELOAD_PRELOAD_ENABLE;
  if (HAL_TIM_Base_Init(&htim6) != HAL_OK)
  {
    Error_Handler();
  }

  sMasterConfig.MasterOutputTrigger = TIM_TRGO_UPDATE;
  sMasterConfig.MasterSlaveMode = TIM_MASTERSLAVEMODE_DISABLE;
  if (HAL_TIMEx_MasterConfigSynchronization(&htim6, &sMasterConfig) != HAL_OK)
  {
    Error_Handler();
  }

}

/* TIM7 init function */
static void MX_TIM7_Init(void)
{

  TIM_MasterConfigTypeDef sMasterConfig;

  htim7.Instance = TIM7;
  htim7.Init.Prescaler = 71;
  htim7.Init.CounterMode = TIM_COUNTERMODE_UP;
  htim7.Init.Period = 999;
  htim7.Init.AutoReloadPreload = TIM_AUTORELOAD_PRELOAD_ENABLE;
  if (HAL_TIM_Base_Init(&htim7) != HAL_OK)
  {
    Error_Handler();
  }

  sMasterConfig.MasterOutputTrigger = TIM_TRGO_UPDATE;
  sMasterConfig.MasterSlaveMode = TIM_MASTERSLAVEMODE_DISABLE;
  if (HAL_TIMEx_MasterConfigSynchronization(&htim7, &sMasterConfig) != HAL_OK)
  {
    Error_Handler();
  }

}

/* USART1 init function */
static void MX_USART1_UART_Init(void)
{

  huart1.Instance = USART1;
  huart1.Init.BaudRate = 115200;
  huart1.Init.WordLength = UART_WORDLENGTH_8B;
  huart1.Init.StopBits = UART_STOPBITS_1;
  huart1.Init.Parity = UART_PARITY_NONE;
  huart1.Init.Mode = UART_MODE_TX_RX;
  huart1.Init.HwFlowCtl = UART_HWCONTROL_NONE;
  huart1.Init.OverSampling = UART_OVERSAMPLING_16;
  huart1.Init.OneBitSampling = UART_ONE_BIT_SAMPLE_DISABLE;
  huart1.AdvancedInit.AdvFeatureInit = UART_ADVFEATURE_NO_INIT;
  if (HAL_UART_Init(&huart1) != HAL_OK)
  {
    Error_Handler();
  }

}

static void MX_DMA_Init(void)
{
  /* DMA controller clock enable */
  __HAL_RCC_DMA1_CLK_ENABLE();

  /* DMA interrupt init */
  /* DMA1_Channel3_IRQn interrupt configuration */
  HAL_NVIC_SetPriority(DMA1_Channel3_IRQn, 0, 0);
  HAL_NVIC_EnableIRQ(DMA1_Channel3_IRQn);

}

/** Configure pins as
        * Analog
        * Input
        * Output
        * EVENT_OUT
        * EXTI
        * Free pins are configured automatically as Analog (this feature is enabled through
        * the Code Generation settings)
     PA11   ------> USB_DM
     PA12   ------> USB_DP
*/
static void MX_GPIO_Init(void)
{

  GPIO_InitTypeDef GPIO_InitStruct;

  /* GPIO Ports Clock Enable */
  __HAL_RCC_GPIOE_CLK_ENABLE();
  __HAL_RCC_GPIOC_CLK_ENABLE();
  __HAL_RCC_GPIOF_CLK_ENABLE();
  __HAL_RCC_GPIOA_CLK_ENABLE();
  __HAL_RCC_GPIOB_CLK_ENABLE();
  __HAL_RCC_GPIOD_CLK_ENABLE();

  /*Configure GPIO pin Output Level */
  HAL_GPIO_WritePin(GPIOE, CS_I2C_SPI_Pin|LD4_Pin|LD3_Pin|LD5_Pin
                          |LD7_Pin|LD9_Pin|LD10_Pin|LD8_Pin
                          |LD6_Pin, GPIO_PIN_RESET);

  /*Configure GPIO pins : DRDY_Pin MEMS_INT3_Pin MEMS_INT4_Pin MEMS_INT2_Pin */
  GPIO_InitStruct.Pin = DRDY_Pin|MEMS_INT3_Pin|MEMS_INT4_Pin|MEMS_INT2_Pin;
  GPIO_InitStruct.Mode = GPIO_MODE_EVT_RISING;
  GPIO_InitStruct.Pull = GPIO_NOPULL;
  HAL_GPIO_Init(GPIOE, &GPIO_InitStruct);

  /*Configure GPIO pins : CS_I2C_SPI_Pin LD4_Pin LD3_Pin LD5_Pin
                           LD7_Pin LD9_Pin LD10_Pin LD8_Pin
                           LD6_Pin */
  GPIO_InitStruct.Pin = CS_I2C_SPI_Pin|LD4_Pin|LD3_Pin|LD5_Pin
                          |LD7_Pin|LD9_Pin|LD10_Pin|LD8_Pin
                          |LD6_Pin;
  GPIO_InitStruct.Mode = GPIO_MODE_OUTPUT_PP;
  GPIO_InitStruct.Pull = GPIO_NOPULL;
  GPIO_InitStruct.Speed = GPIO_SPEED_FREQ_LOW;
  HAL_GPIO_Init(GPIOE, &GPIO_InitStruct);

  /*Configure GPIO pins : PE6 PE7 PE0 */
  GPIO_InitStruct.Pin = GPIO_PIN_6|GPIO_PIN_7|GPIO_PIN_0;
  GPIO_InitStruct.Mode = GPIO_MODE_ANALOG;
  GPIO_InitStruct.Pull = GPIO_NOPULL;
  HAL_GPIO_Init(GPIOE, &GPIO_InitStruct);

  /*Configure GPIO pins : PC13 PC0 PC1 PC2
                           PC3 PC6 PC7 PC8
                           PC9 PC10 PC11 PC12 */
  GPIO_InitStruct.Pin = GPIO_PIN_13|GPIO_PIN_0|GPIO_PIN_1|GPIO_PIN_2
                          |GPIO_PIN_3|GPIO_PIN_6|GPIO_PIN_7|GPIO_PIN_8
                          |GPIO_PIN_9|GPIO_PIN_10|GPIO_PIN_11|GPIO_PIN_12;
  GPIO_InitStruct.Mode = GPIO_MODE_ANALOG;
  GPIO_InitStruct.Pull = GPIO_NOPULL;
  HAL_GPIO_Init(GPIOC, &GPIO_InitStruct);

  /*Configure GPIO pins : PF9 PF10 PF2 PF4
                           PF6 */
  GPIO_InitStruct.Pin = GPIO_PIN_9|GPIO_PIN_10|GPIO_PIN_2|GPIO_PIN_4
                          |GPIO_PIN_6;
  GPIO_InitStruct.Mode = GPIO_MODE_ANALOG;
  GPIO_InitStruct.Pull = GPIO_NOPULL;
  HAL_GPIO_Init(GPIOF, &GPIO_InitStruct);

  /*Configure GPIO pin : B1_Pin */
  GPIO_InitStruct.Pin = B1_Pin;
  GPIO_InitStruct.Mode = GPIO_MODE_IT_RISING;
  GPIO_InitStruct.Pull = GPIO_NOPULL;
  HAL_GPIO_Init(B1_GPIO_Port, &GPIO_InitStruct);

  /*Configure GPIO pins : PA2 PA3 PA8 PA9
                           PA10 PA15 */
  GPIO_InitStruct.Pin = GPIO_PIN_2|GPIO_PIN_3|GPIO_PIN_8|GPIO_PIN_9
                          |GPIO_PIN_10|GPIO_PIN_15;
  GPIO_InitStruct.Mode = GPIO_MODE_ANALOG;
  GPIO_InitStruct.Pull = GPIO_NOPULL;
  HAL_GPIO_Init(GPIOA, &GPIO_InitStruct);

  /*Configure GPIO pins : PB0 PB1 PB2 PB10
                           PB11 PB12 PB13 PB14
                           PB15 PB4 PB5 PB8
                           PB9 */
  GPIO_InitStruct.Pin = GPIO_PIN_0|GPIO_PIN_1|GPIO_PIN_2|GPIO_PIN_10
                          |GPIO_PIN_11|GPIO_PIN_12|GPIO_PIN_13|GPIO_PIN_14
                          |GPIO_PIN_15|GPIO_PIN_4|GPIO_PIN_5|GPIO_PIN_8
                          |GPIO_PIN_9;
  GPIO_InitStruct.Mode = GPIO_MODE_ANALOG;
  GPIO_InitStruct.Pull = GPIO_NOPULL;
  HAL_GPIO_Init(GPIOB, &GPIO_InitStruct);

  /*Configure GPIO pins : PD8 PD9 PD10 PD11
                           PD12 PD13 PD14 PD15
                           PD0 PD1 PD2 PD3
                           PD4 PD5 PD6 PD7 */
  GPIO_InitStruct.Pin = GPIO_PIN_8|GPIO_PIN_9|GPIO_PIN_10|GPIO_PIN_11
                          |GPIO_PIN_12|GPIO_PIN_13|GPIO_PIN_14|GPIO_PIN_15
                          |GPIO_PIN_0|GPIO_PIN_1|GPIO_PIN_2|GPIO_PIN_3
                          |GPIO_PIN_4|GPIO_PIN_5|GPIO_PIN_6|GPIO_PIN_7;
  GPIO_InitStruct.Mode = GPIO_MODE_ANALOG;
  GPIO_InitStruct.Pull = GPIO_NOPULL;
  HAL_GPIO_Init(GPIOD, &GPIO_InitStruct);

  /*Configure GPIO pins : DM_Pin DP_Pin */
  GPIO_InitStruct.Pin = DM_Pin|DP_Pin;
  GPIO_InitStruct.Mode = GPIO_MODE_AF_PP;
  GPIO_InitStruct.Pull = GPIO_NOPULL;
  GPIO_InitStruct.Speed = GPIO_SPEED_FREQ_HIGH;
  GPIO_InitStruct.Alternate = GPIO_AF14_USB;
  HAL_GPIO_Init(GPIOA, &GPIO_InitStruct);

  /* EXTI interrupt init*/
  HAL_NVIC_SetPriority(EXTI0_IRQn, 0, 2);
  HAL_NVIC_EnableIRQ(EXTI0_IRQn);

}

void Error_Handler(void)
{
	while (1) {
	}
}

/************************ (C) COPYRIGHT STMicroelectronics *****END OF FILE****/
